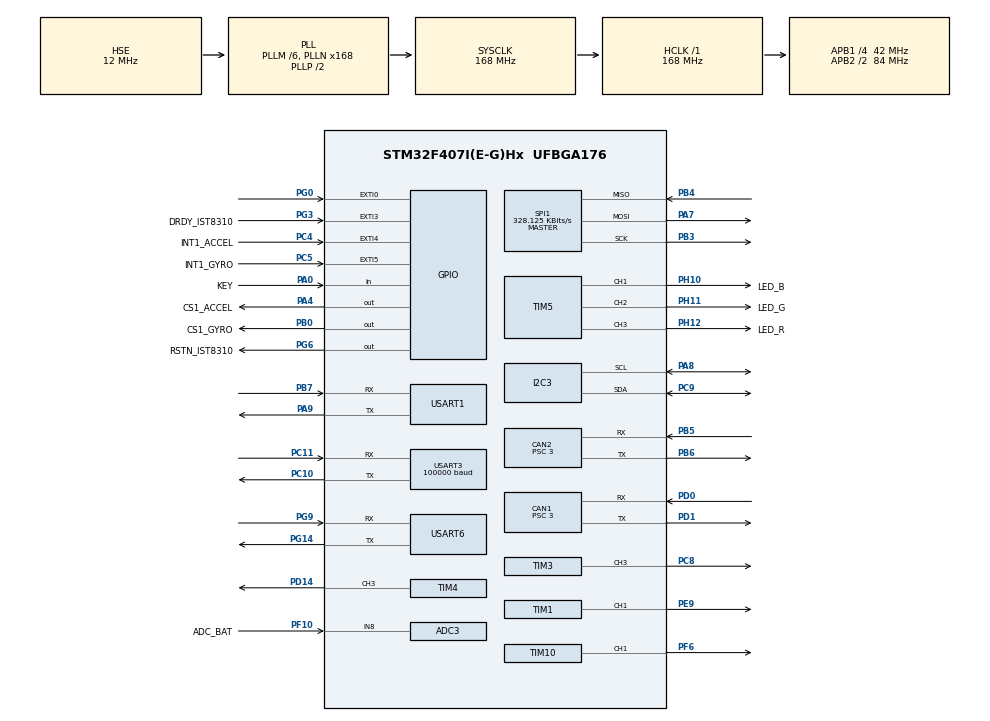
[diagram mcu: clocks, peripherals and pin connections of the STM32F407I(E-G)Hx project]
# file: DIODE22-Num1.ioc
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ADC1.Channel-0\#ChannelRegularConversion=ADC_CHANNEL_TEMPSENSOR
ADC1.ClockPrescaler=ADC_CLOCK_SYNC_PCLK_DIV6
ADC1.NbrOfConversionFlag=1
ADC1.Rank-0\#ChannelRegularConversion=1
ADC1.SamplingTime-0\#ChannelRegularConversion=ADC_SAMPLETIME_3CYCLES
ADC1.master=1
ADC3.Channel-0\#ChannelRegularConversion=ADC_CHANNEL_8
ADC3.ClockPrescaler=ADC_CLOCK_SYNC_PCLK_DIV6
ADC3.NbrOfConversionFlag=1
ADC3.Rank-0\#ChannelRegularConversion=1
ADC3.SamplingTime-0\#ChannelRegularConversion=ADC_SAMPLETIME_3CYCLES
CAN1.ABOM=DISABLE
CAN1.BS1=CAN_BS1_10TQ
CAN1.BS2=CAN_BS2_3TQ
CAN1.CalculateBaudRate=1000000
CAN1.CalculateTimeBit=999.99
CAN1.CalculateTimeQuantum=71.42857142857143
CAN1.Prescaler=3
CAN2.BS1=CAN_BS1_10TQ
CAN2.BS2=CAN_BS2_3TQ
CAN2.CalculateBaudRate=1000000
CAN2.CalculateTimeBit=999.99
CAN2.CalculateTimeQuantum=71.42857142857143
CAN2.Prescaler=3
Dma.Request0=SPI1_RX
Dma.Request1=SPI1_TX
Dma.Request2=USART1_RX
Dma.Request3=USART1_TX
Dma.Request4=USART6_RX
Dma.Request5=USART6_TX
Dma.Request6=USART3_RX
Dma.SPI1_RX.0.Direction=DMA_PERIPH_TO_MEMORY
Dma.SPI1_RX.0.FIFOMode=DMA_FIFOMODE_DISABLE
Dma.SPI1_RX.0.Instance=DMA2_Stream2
Dma.SPI1_RX.0.MemDataAlignment=DMA_MDATAALIGN_BYTE
Dma.SPI1_RX.0.MemInc=DMA_MINC_ENABLE
Dma.SPI1_RX.0.Mode=DMA_NORMAL
Dma.SPI1_RX.0.PeriphDataAlignment=DMA_PDATAALIGN_BYTE
Dma.SPI1_RX.0.PeriphInc=DMA_PINC_DISABLE
Dma.SPI1_RX.0.Priority=DMA_PRIORITY_VERY_HIGH
Dma.SPI1_TX.1.Direction=DMA_MEMORY_TO_PERIPH
Dma.SPI1_TX.1.FIFOMode=DMA_FIFOMODE_DISABLE
Dma.SPI1_TX.1.Instance=DMA2_Stream3
Dma.SPI1_TX.1.MemDataAlignment=DMA_MDATAALIGN_BYTE
Dma.SPI1_TX.1.MemInc=DMA_MINC_ENABLE
Dma.SPI1_TX.1.Mode=DMA_NORMAL
Dma.SPI1_TX.1.PeriphDataAlignment=DMA_PDATAALIGN_BYTE
Dma.SPI1_TX.1.PeriphInc=DMA_PINC_DISABLE
Dma.SPI1_TX.1.Priority=DMA_PRIORITY_HIGH
Dma.USART1_RX.2.Direction=DMA_PERIPH_TO_MEMORY
Dma.USART1_RX.2.FIFOMode=DMA_FIFOMODE_DISABLE
Dma.USART1_RX.2.Instance=DMA2_Stream5
Dma.USART1_RX.2.MemDataAlignment=DMA_MDATAALIGN_BYTE
Dma.USART1_RX.2.MemInc=DMA_MINC_ENABLE
Dma.USART1_RX.2.Mode=DMA_NORMAL
Dma.USART1_RX.2.PeriphDataAlignment=DMA_PDATAALIGN_BYTE
Dma.USART1_RX.2.PeriphInc=DMA_PINC_DISABLE
Dma.USART1_RX.2.Priority=DMA_PRIORITY_HIGH
Dma.USART1_TX.3.Direction=DMA_MEMORY_TO_PERIPH
Dma.USART1_TX.3.FIFOMode=DMA_FIFOMODE_DISABLE
Dma.USART1_TX.3.Instance=DMA2_Stream7
Dma.USART1_TX.3.MemDataAlignment=DMA_MDATAALIGN_BYTE
Dma.USART1_TX.3.MemInc=DMA_MINC_ENABLE
Dma.USART1_TX.3.Mode=DMA_NORMAL
Dma.USART1_TX.3.PeriphDataAlignment=DMA_PDATAALIGN_BYTE
Dma.USART1_TX.3.PeriphInc=DMA_PINC_DISABLE
Dma.USART1_TX.3.Priority=DMA_PRIORITY_HIGH
Dma.USART3_RX.6.Direction=DMA_PERIPH_TO_MEMORY
Dma.USART3_RX.6.FIFOMode=DMA_FIFOMODE_DISABLE
Dma.USART3_RX.6.Instance=DMA1_Stream1
Dma.USART3_RX.6.MemDataAlignment=DMA_MDATAALIGN_BYTE
Dma.USART3_RX.6.MemInc=DMA_MINC_ENABLE
Dma.USART3_RX.6.Mode=DMA_CIRCULAR
Dma.USART3_RX.6.PeriphDataAlignment=DMA_PDATAALIGN_BYTE
Dma.USART3_RX.6.PeriphInc=DMA_PINC_DISABLE
Dma.USART3_RX.6.Priority=DMA_PRIORITY_LOW
Dma.USART6_RX.4.Direction=DMA_PERIPH_TO_MEMORY
Dma.USART6_RX.4.FIFOMode=DMA_FIFOMODE_DISABLE
Dma.USART6_RX.4.Instance=DMA2_Stream1
Dma.USART6_RX.4.MemDataAlignment=DMA_MDATAALIGN_BYTE
Dma.USART6_RX.4.MemInc=DMA_MINC_ENABLE
Dma.USART6_RX.4.Mode=DMA_CIRCULAR
Dma.USART6_RX.4.PeriphDataAlignment=DMA_PDATAALIGN_BYTE
Dma.USART6_RX.4.PeriphInc=DMA_PINC_DISABLE
Dma.USART6_RX.4.Priority=DMA_PRIORITY_LOW
Dma.USART6_TX.5.Direction=DMA_MEMORY_TO_PERIPH
Dma.USART6_TX.5.FIFOMode=DMA_FIFOMODE_DISABLE
Dma.USART6_TX.5.Instance=DMA2_Stream6
Dma.USART6_TX.5.MemDataAlignment=DMA_MDATAALIGN_BYTE
Dma.USART6_TX.5.MemInc=DMA_MINC_ENABLE
Dma.USART6_TX.5.Mode=DMA_NORMAL
Dma.USART6_TX.5.PeriphDataAlignment=DMA_PDATAALIGN_BYTE
Dma.USART6_TX.5.PeriphInc=DMA_PINC_DISABLE
Dma.USART6_TX.5.Priority=DMA_PRIORITY_LOW
FREERTOS.INCLUDE_eTaskGetState=1
FREERTOS.INCLUDE_pcTaskGetTaskName=1
FREERTOS.INCLUDE_uxTaskGetStackHighWaterMark=1
FREERTOS.INCLUDE_vTaskCleanUpResources=1
FREERTOS.INCLUDE_vTaskDelayUntil=1
FREERTOS.INCLUDE_xEventGroupSetBitFromISR=1
FREERTOS.INCLUDE_xQueueGetMutexHolder=1
FREERTOS.INCLUDE_xSemaphoreGetMutexHolder=1
FREERTOS.INCLUDE_xTaskAbortDelay=1
FREERTOS.INCLUDE_xTaskGetCurrentTaskHandle=1
FREERTOS.INCLUDE_xTaskGetHandle=1
FREERTOS.INCLUDE_xTimerPendFunctionCall=1
FREERTOS.Tasks01=defaultTask,0,128,StartDefaultTask,Default,NULL,Dynamic,NULL,NULL
FREERTOS.configMAX_PRIORITIES=15
FREERTOS.configTOTAL_HEAP_SIZE=24576
FREERTOS.configUSE_TIMERS=1
I2C3.I2C_Mode=I2C_Fast
Mcu.Family=STM32F4
Mcu.Name=STM32F407I(E-G)Hx
Mcu.Package=UFBGA176
NVIC.CAN1_RX0_IRQn=true\:5\:0\:false\:false\:true\:true\:true\:true
NVIC.CAN2_RX0_IRQn=true\:5\:0\:false\:false\:true\:true\:true\:true
NVIC.DMA1_Stream1_IRQn=true\:5\:0\:false\:false\:true\:true\:false\:true
NVIC.DMA2_Stream1_IRQn=true\:5\:0\:false\:false\:true\:true\:false\:true
NVIC.DMA2_Stream2_IRQn=true\:5\:0\:false\:false\:false\:true\:false\:true
NVIC.DMA2_Stream3_IRQn=true\:5\:0\:false\:false\:false\:true\:false\:true
NVIC.DMA2_Stream5_IRQn=true\:5\:0\:false\:false\:true\:true\:false\:true
NVIC.DMA2_Stream6_IRQn=true\:5\:0\:false\:false\:true\:true\:false\:true
NVIC.DMA2_Stream7_IRQn=true\:5\:0\:false\:false\:true\:true\:false\:true
NVIC.EXTI0_IRQn=true\:5\:0\:false\:false\:true\:true\:true\:true
NVIC.EXTI3_IRQn=true\:5\:0\:false\:false\:true\:true\:true\:true
NVIC.EXTI4_IRQn=true\:5\:0\:false\:false\:true\:true\:true\:true
NVIC.EXTI9_5_IRQn=true\:5\:0\:false\:false\:true\:true\:true\:true
NVIC.PriorityGroup=NVIC_PRIORITYGROUP_4
NVIC.USART1_IRQn=true\:5\:0\:false\:false\:true\:true\:true\:true
NVIC.USART3_IRQn=true\:5\:0\:false\:false\:true\:true\:true\:true
NVIC.USART6_IRQn=true\:5\:0\:false\:false\:true\:true\:true\:true
PA0-WKUP.GPIO_Label=KEY
PA0-WKUP.GPIO_PuPd=GPIO_PULLUP
PA0-WKUP.Signal=GPIO_Input
PA13.Mode=Serial_Wire
PA13.Signal=SYS_JTMS-SWDIO
PA14.Mode=Serial_Wire
PA14.Signal=SYS_JTCK-SWCLK
PA4.GPIO_Label=CS1_ACCEL
PA4.GPIO_ModeDefaultOutputPP=GPIO_MODE_OUTPUT_PP
PA4.GPIO_PuPd=GPIO_PULLUP
PA4.GPIO_Speed=GPIO_SPEED_FREQ_HIGH
PA4.PinState=GPIO_PIN_SET
PA4.Signal=GPIO_Output
PA7.GPIO_PuPd=GPIO_PULLUP
PA7.Mode=Full_Duplex_Master
PA7.Signal=SPI1_MOSI
PA8.GPIO_Pu=GPIO_PULLUP
PA8.Mode=I2C
PA8.Signal=I2C3_SCL
PA9.Mode=Asynchronous
PA9.Signal=USART1_TX
PB0.GPIO_Label=CS1_GYRO
PB0.GPIO_PuPd=GPIO_PULLUP
PB0.GPIO_Speed=GPIO_SPEED_FREQ_HIGH
PB0.PinState=GPIO_PIN_SET
PB0.Signal=GPIO_Output
PB3.GPIO_PuPd=GPIO_PULLUP
PB3.Mode=Full_Duplex_Master
PB3.Signal=SPI1_SCK
PB4.GPIO_PuPd=GPIO_PULLUP
PB4.Mode=Full_Duplex_Master
PB4.Signal=SPI1_MISO
PB5.Mode=CAN_Activate
PB5.Signal=CAN2_RX
PB6.Mode=CAN_Activate
PB6.Signal=CAN2_TX
PB7.Mode=Asynchronous
PB7.Signal=USART1_RX
PC10.Mode=Asynchronous
PC10.Signal=USART3_TX
PC11.Mode=Asynchronous
PC11.Signal=USART3_RX
PC4.GPIO_Label=INT1_ACCEL
PC4.GPIO_PuPd=GPIO_PULLUP
PC4.Signal=GPXTI4
PC5.GPIO_Label=INT1_GYRO
PC5.Signal=GPXTI5
PC8.Signal=S_TIM3_CH3
PC9.GPIO_Pu=GPIO_PULLUP
PC9.Mode=I2C
PC9.Signal=I2C3_SDA
PD0.Mode=CAN_Activate
PD0.Signal=CAN1_RX
PD1.Mode=CAN_Activate
PD1.Signal=CAN1_TX
PD14.GPIO_Speed=GPIO_SPEED_FREQ_VERY_HIGH
PD14.Signal=S_TIM4_CH3
PE9.Signal=S_TIM1_CH1
PF10.GPIO_Label=ADC_BAT
PF10.Mode=IN8
PF10.Signal=ADC3_IN8
PF6.GPIO_PuPd=GPIO_PULLUP
PF6.GPIO_Speed=GPIO_SPEED_FREQ_HIGH
PF6.Signal=S_TIM10_CH1
PG0.GPIO_PuPd=GPIO_PULLUP
PG0.Signal=GPXTI0
PG14.Mode=Asynchronous
PG14.Signal=USART6_TX
PG3.GPIO_Label=DRDY_IST8310
PG3.GPIO_PuPd=GPIO_PULLUP
PG3.Signal=GPXTI3
PG6.GPIO_Label=RSTN_IST8310
PG6.GPIO_PuPd=GPIO_PULLUP
PG6.GPIO_Speed=GPIO_SPEED_FREQ_HIGH
PG6.PinState=GPIO_PIN_SET
PG6.Signal=GPIO_Output
PG9.Mode=Asynchronous
PG9.Signal=USART6_RX
PH0-OSC_IN.Mode=HSE-External-Oscillator
PH0-OSC_IN.Signal=RCC_OSC_IN
PH1-OSC_OUT.Mode=HSE-External-Oscillator
PH1-OSC_OUT.Signal=RCC_OSC_OUT
PH10.GPIO_Label=LED_B
PH10.GPIO_PuPd=GPIO_PULLUP
PH10.GPIO_Speed=GPIO_SPEED_FREQ_VERY_HIGH
PH10.Signal=S_TIM5_CH1
PH11.GPIO_Label=LED_G
PH11.GPIO_PuPd=GPIO_PULLUP
PH11.GPIO_Speed=GPIO_SPEED_FREQ_VERY_HIGH
PH11.Signal=S_TIM5_CH2
PH12.GPIO_Label=LED_R
PH12.GPIO_PuPd=GPIO_PULLUP
PH12.GPIO_Speed=GPIO_SPEED_FREQ_VERY_HIGH
PH12.Signal=S_TIM5_CH3
ProjectManager.HeapSize=0x200
ProjectManager.StackSize=0x400
ProjectManager.TargetToolchain=MDK-ARM V5
RCC.48MHZClocksFreq_Value=84000000
RCC.AHBFreq_Value=168000000
RCC.APB1CLKDivider=RCC_HCLK_DIV4
RCC.APB1Freq_Value=42000000
RCC.APB1TimFreq_Value=84000000
RCC.APB2CLKDivider=RCC_HCLK_DIV2
RCC.APB2Freq_Value=84000000
RCC.APB2TimFreq_Value=168000000
RCC.CortexFreq_Value=168000000
RCC.HCLKFreq_Value=168000000
RCC.HSE_VALUE=12000000
RCC.HSI_VALUE=16000000
RCC.LSE_VALUE=32768
RCC.PLLM=6
RCC.PLLN=168
RCC.PLLSourceVirtual=RCC_PLLSOURCE_HSE
RCC.SYSCLKFreq_VALUE=168000000
RCC.SYSCLKSource=RCC_SYSCLKSOURCE_PLLCLK
RCC.VCOOutputFreq_Value=336000000
SH.S_TIM10_CH1.0=TIM10_CH1,PWM Generation1 CH1
SH.S_TIM1_CH1.0=TIM1_CH1,PWM Generation1 CH1
SH.S_TIM3_CH3.0=TIM3_CH3,PWM Generation3 CH3
SH.S_TIM4_CH3.0=TIM4_CH3,PWM Generation3 CH3
SH.S_TIM5_CH1.0=TIM5_CH1,PWM Generation1 CH1
SH.S_TIM5_CH2.0=TIM5_CH2,PWM Generation2 CH2
SH.S_TIM5_CH3.0=TIM5_CH3,PWM Generation3 CH3
SPI1.BaudRatePrescaler=SPI_BAUDRATEPRESCALER_256
SPI1.CLKPhase=SPI_PHASE_2EDGE
SPI1.CLKPolarity=SPI_POLARITY_HIGH
SPI1.CalculateBaudRate=328.125 KBits/s
SPI1.Direction=SPI_DIRECTION_2LINES
SPI1.Mode=SPI_MODE_MASTER
SPI1.VirtualType=VM_MASTER
TIM1.Channel-PWM\ Generation1\ CH1=TIM_CHANNEL_1
TIM1.Period=20000-1
TIM1.Prescaler=168-1
TIM10.Channel=TIM_CHANNEL_1
TIM3.Channel-PWM\ Generation3\ CH3=TIM_CHANNEL_3
TIM3.Period=8399
TIM4.Channel-PWM\ Generation3\ CH3=TIM_CHANNEL_3
TIM5.Channel-PWM\ Generation1\ CH1=TIM_CHANNEL_1
TIM5.Channel-PWM\ Generation2\ CH2=TIM_CHANNEL_2
TIM5.Channel-PWM\ Generation3\ CH3=TIM_CHANNEL_3
USART1.VirtualMode=VM_ASYNC
USART3.BaudRate=100000
USART3.Parity=PARITY_EVEN
USART3.VirtualMode=VM_ASYNC
USART6.VirtualMode=VM_ASYNC
VP_ADC1_TempSens_Input.Mode=IN-TempSens
VP_ADC1_Vref_Input.Mode=IN-Vrefint
VP_CRC_VS_CRC.Mode=CRC_Activate
VP_FREERTOS_VS_CMSIS_V1.Mode=CMSIS_V1
VP_TIM10_VS_ClockSourceINT.Mode=Enable_Timer
VP_TIM4_VS_ClockSourceINT.Mode=Internal
board=custom

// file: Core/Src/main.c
/* USER CODE BEGIN Header */
/**
  ******************************************************************************
  * @file           : main.c
  * @brief          : Main program body
  ******************************************************************************
  * @attention
  *
  * <h2><center>&copy; Copyright (c) 2022 STMicroelectronics.
  * All rights reserved.</center></h2>
  *
  * This software component is licensed by ST under Ultimate Liberty license
  * SLA0044, the "License"; You may not use this file except in compliance with
  * the License. You may obtain a copy of the License at:
  *                             www.st.com/SLA0044
  *
  ******************************************************************************
  */
/* USER CODE END Header */
#include "main.h"
#include "cmsis_os.h"
#include "adc.h"
#include "can.h"
#include "crc.h"
#include "dma.h"
#include "i2c.h"
#include "spi.h"
#include "tim.h"
#include "usart.h"
#include "gpio.h"

/* USER CODE BEGIN Includes */
#include "bsp_delay.h"
/* USER CODE END Includes */

/* USER CODE BEGIN PTD */
extern uint8_t tmp_vision;
/* USER CODE END PTD */

void SystemClock_Config(void);
void MX_FREERTOS_Init(void);
/* USER CODE BEGIN PFP */
void BSP_All_Init(void);		// 所有设备初始化
/* USER CODE END PFP */

int main(void)
{

  /* MCU Configuration--------------------------------------------------------*/

  /* Reset of all peripherals, Initializes the Flash interface and the Systick. */
  HAL_Init();

  /* Configure the system clock */
  SystemClock_Config();

  /* Initialize all configured peripherals */
  MX_GPIO_Init();
  MX_DMA_Init();
  MX_ADC1_Init();
  MX_ADC3_Init();
  MX_CAN1_Init();
  MX_CAN2_Init();
  MX_SPI1_Init();
  MX_TIM4_Init();
  MX_TIM5_Init();
  MX_TIM10_Init();
  MX_USART1_UART_Init();
  MX_USART6_UART_Init();
  MX_USART3_UART_Init();
  MX_CRC_Init();
  MX_I2C3_Init();
  MX_TIM3_Init();
  MX_TIM1_Init();
  /* USER CODE BEGIN 2 */
  BSP_All_Init();
  /* USER CODE END 2 */

  /* Call init function for freertos objects (in freertos.c) */
  MX_FREERTOS_Init();
  /* Start scheduler */
  osKernelStart();

  /* We should never get here as control is now taken by the scheduler */
  /* Infinite loop */
  while (1)
  {

  }
}

void SystemClock_Config(void)
{
  RCC_OscInitTypeDef RCC_OscInitStruct = {0};
  RCC_ClkInitTypeDef RCC_ClkInitStruct = {0};

  /** Configure the main internal regulator output voltage
  */
  __HAL_RCC_PWR_CLK_ENABLE();
  __HAL_PWR_VOLTAGESCALING_CONFIG(PWR_REGULATOR_VOLTAGE_SCALE1);
  /** Initializes the RCC Oscillators according to the specified parameters
  * in the RCC_OscInitTypeDef structure.
  */
  RCC_OscInitStruct.OscillatorType = RCC_OSCILLATORTYPE_HSE;
  RCC_OscInitStruct.HSEState = RCC_HSE_ON;
  RCC_OscInitStruct.PLL.PLLState = RCC_PLL_ON;
  RCC_OscInitStruct.PLL.PLLSource = RCC_PLLSOURCE_HSE;
  RCC_OscInitStruct.PLL.PLLM = 6;
  RCC_OscInitStruct.PLL.PLLN = 168;
  RCC_OscInitStruct.PLL.PLLP = RCC_PLLP_DIV2;
  RCC_OscInitStruct.PLL.PLLQ = 4;
  if (HAL_RCC_OscConfig(&RCC_OscInitStruct) != HAL_OK)
  {
    Error_Handler();
  }
  /** Initializes the CPU, AHB and APB buses clocks
  */
  RCC_ClkInitStruct.ClockType = RCC_CLOCKTYPE_HCLK|RCC_CLOCKTYPE_SYSCLK
                              |RCC_CLOCKTYPE_PCLK1|RCC_CLOCKTYPE_PCLK2;
  RCC_ClkInitStruct.SYSCLKSource = RCC_SYSCLKSOURCE_PLLCLK;
  RCC_ClkInitStruct.AHBCLKDivider = RCC_SYSCLK_DIV1;
  RCC_ClkInitStruct.APB1CLKDivider = RCC_HCLK_DIV4;
  RCC_ClkInitStruct.APB2CLKDivider = RCC_HCLK_DIV2;

  if (HAL_RCC_ClockConfig(&RCC_ClkInitStruct, FLASH_LATENCY_5) != HAL_OK)
  {
    Error_Handler();
  }
}

/* USER CODE BEGIN 4 */
void BSP_All_Init(void)	// 初始化所有硬件层
{
	  HAL_TIM_PWM_Start(&htim1,TIM_CHANNEL_1);
  	HAL_TIM_PWM_Start(&htim3,TIM_CHANNEL_3);
    extern uint8_t aTxVisionMessages[22];
    delay_init();

    CAN_FilterInit(&hcan1);	// 初始化CAN1的筛选器
    CAN_FilterInit(&hcan2);	// 初始化CAN2的筛选器

    PID_Init(&PID_HEAT_PWM,POSITION_PID,1000,1000,1600,0.2,0,0,0);
    client_state_now.motion=1;

    extern uint8_t tmp_vision;

//    HAL_UART_Receive_DMA(&VISION_UART, &tmp_vision, 1);
//    HAL_UART_Transmit_DMA(&VISION_UART,(uint8_t*)aTxVisionMessages,sizeof(aTxVisionMessages));
	  HAL_TIM_PWM_Start(&htim10, TIM_CHANNEL_1);
    dbus_uart_init();		// 初始化遥控器
    laser_off();
    Beep(200);
}
/* USER CODE END 4 */

void Error_Handler(void)
{
}

/************************ (C) COPYRIGHT STMicroelectronics *****END OF FILE****/

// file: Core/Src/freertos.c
/* USER CODE BEGIN Header */
/**
  ******************************************************************************
  * File Name          : freertos.c
  * Description        : Code for freertos applications
  ******************************************************************************
  * @attention
  *
  * <h2><center>&copy; Copyright (c) 2022 STMicroelectronics.
  * All rights reserved.</center></h2>
  *
  * This software component is licensed by ST under Ultimate Liberty license
  * SLA0044, the "License"; You may not use this file except in compliance with
  * the License. You may obtain a copy of the License at:
  *                             www.st.com/SLA0044
  *
  ******************************************************************************
  */
/* USER CODE END Header */

#include "FreeRTOS.h"
#include "task.h"
#include "main.h"
#include "cmsis_os.h"

/* USER CODE BEGIN Includes */
#include "bsp_can.h"
#include "pid.h"
#include "gimbal.h"
#include "bsp_can.h"
#include "JudgeTask.h"
#include "kalman.h"
#include "chassis_task.h"
#include "gimbal_task.h"
#include "infoupdate_task.h"
#include "led_task.h"
#include "outctl_task.h"
#include "task_10hz_task.h"
#include "shoot_task.h"
#include "INS_task.h"
#include "calibrate_task.h"
/* USER CODE END Includes */

osThreadId defaultTaskHandle;

/* USER CODE BEGIN FunctionPrototypes */
osThreadId chassisTaskHandle;
osThreadId gimbalTaskHandle;
//osThreadId ledTaskHandle;
osThreadId shootTaskHandle;
osThreadId info_updateTaskHandle;
osThreadId task_10hzTaskHandle;
osThreadId outctlTaskHandle;
osThreadId imuTaskHandle;
osThreadId calibrate_tast_handle;
/* USER CODE END FunctionPrototypes */

void StartDefaultTask(void const * argument);

void MX_FREERTOS_Init(void); /* (MISRA C 2004 rule 8.1) */

/* GetIdleTaskMemory prototype (linked to static allocation support) */
void vApplicationGetIdleTaskMemory( StaticTask_t **ppxIdleTaskTCBBuffer, StackType_t **ppxIdleTaskStackBuffer, uint32_t *pulIdleTaskStackSize );

/* GetTimerTaskMemory prototype (linked to static allocation support) */
void vApplicationGetTimerTaskMemory( StaticTask_t **ppxTimerTaskTCBBuffer, StackType_t **ppxTimerTaskStackBuffer, uint32_t *pulTimerTaskStackSize );

/* USER CODE BEGIN GET_IDLE_TASK_MEMORY */
static StaticTask_t xIdleTaskTCBBuffer;
static StackType_t xIdleStack[configMINIMAL_STACK_SIZE];

void vApplicationGetIdleTaskMemory( StaticTask_t **ppxIdleTaskTCBBuffer, StackType_t **ppxIdleTaskStackBuffer, uint32_t *pulIdleTaskStackSize )
{
  *ppxIdleTaskTCBBuffer = &xIdleTaskTCBBuffer;
  *ppxIdleTaskStackBuffer = &xIdleStack[0];
  *pulIdleTaskStackSize = configMINIMAL_STACK_SIZE;
  /* place for user code */
}
/* USER CODE END GET_IDLE_TASK_MEMORY */

/* USER CODE BEGIN GET_TIMER_TASK_MEMORY */
static StaticTask_t xTimerTaskTCBBuffer;
static StackType_t xTimerStack[configTIMER_TASK_STACK_DEPTH];

void vApplicationGetTimerTaskMemory( StaticTask_t **ppxTimerTaskTCBBuffer, StackType_t **ppxTimerTaskStackBuffer, uint32_t *pulTimerTaskStackSize )
{
  *ppxTimerTaskTCBBuffer = &xTimerTaskTCBBuffer;
  *ppxTimerTaskStackBuffer = &xTimerStack[0];
  *pulTimerTaskStackSize = configTIMER_TASK_STACK_DEPTH;
  /* place for user code */
}
/* USER CODE END GET_TIMER_TASK_MEMORY */

void MX_FREERTOS_Init(void) {

  /* Create the thread(s) */
  /* definition and creation of defaultTask */
  osThreadDef(defaultTask, StartDefaultTask, osPriorityNormal, 0, 128);
  defaultTaskHandle = osThreadCreate(osThread(defaultTask), NULL);

  /* USER CODE BEGIN RTOS_THREADS */
  /* add threads, ... */
  osThreadDef(chassisTask, chassis_task, osPriorityAboveNormal, 0, 512);
  chassisTaskHandle = osThreadCreate(osThread(chassisTask), NULL);

  osThreadDef(gimbalTask, gimbal_task, osPriorityHigh, 0, 512);
  gimbalTaskHandle = osThreadCreate(osThread(gimbalTask), NULL);

  osThreadDef(shootTask, shoot_task, osPriorityAboveNormal, 0, 128);
  shootTaskHandle = osThreadCreate(osThread(shootTask), NULL);

  osThreadDef(info_update, info_update_task, osPriorityNormal, 0, 256);
  info_updateTaskHandle = osThreadCreate(osThread(info_update), NULL);

  osThreadDef(task_10hz, task_10hz_task, osPriorityBelowNormal, 0, 256);
  task_10hzTaskHandle = osThreadCreate(osThread(task_10hz), NULL);

//  osThreadDef(ledTask, led_task, osPriorityNormal, 0, 128);
//  ledTaskHandle = osThreadCreate(osThread(ledTask), NULL);

  osThreadDef(outctl, outctl_task, osPriorityAboveNormal, 0, 128);
  outctlTaskHandle = osThreadCreate(osThread(outctl), NULL);

  osThreadDef(imuTask, INS_task, osPriorityRealtime, 0, 1024);
  imuTaskHandle = osThreadCreate(osThread(imuTask), NULL);

  osThreadDef(cali, calibrate_task, osPriorityAboveNormal, 0, 256);
  calibrate_tast_handle = osThreadCreate(osThread(cali), NULL);

  /* USER CODE END RTOS_THREADS */

}

void StartDefaultTask(void const * argument)
{
  for(;;)
  {
    osDelay(1);
  }
}

/************************ (C) COPYRIGHT STMicroelectronics *****END OF FILE****/
